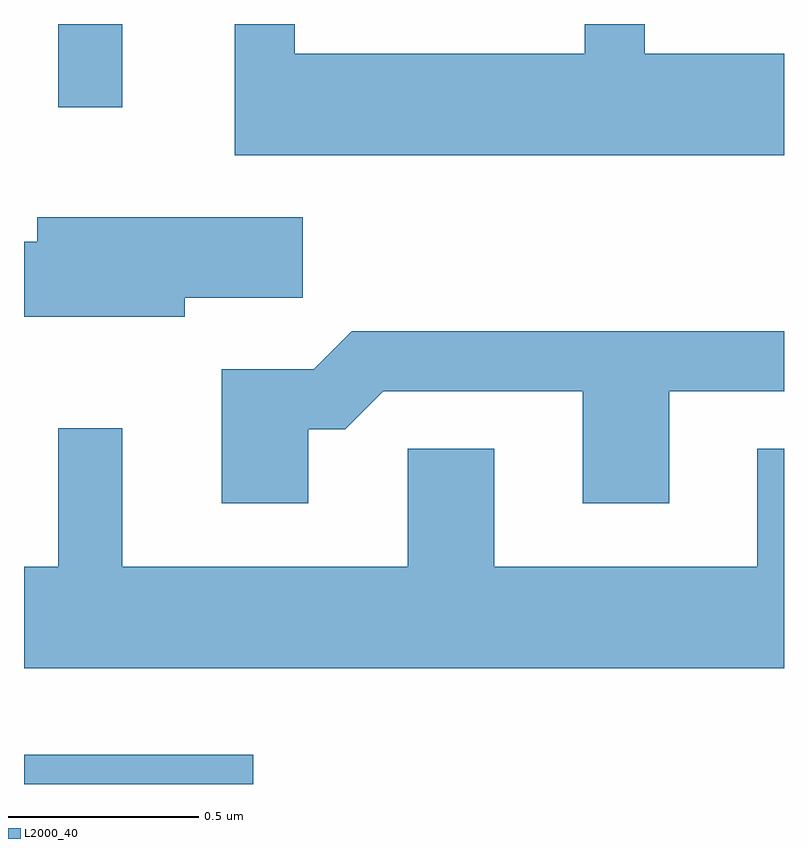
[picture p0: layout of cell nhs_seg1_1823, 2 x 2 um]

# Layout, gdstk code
import gdstk
lib = gdstk.Library(unit=1e-6, precision=1e-09)
def R(c, l, rs):  # rectangles x0, y0, x1, y1
    for r in rs: c.add(gdstk.rectangle(r[:2], r[2:], *l))
def P(c, l, *ps):  # polygons
    for p in ps: c.add(gdstk.Polygon(p, *l))
L2000_40 = (2000, 40)

nhs_seg1_1823 = lib.new_cell('nhs_seg1_1823')
R(nhs_seg1_1823, L2000_40, [(198.611,903.712,199.214,903.789), (198.701,905.493,198.869,905.712)])
P(nhs_seg1_1823, L2000_40, [(200.611,905.634),(200.244,905.634),(200.244,905.712),(200.086,905.712),(200.086,905.634),(199.324,905.634),(199.324,905.712),(199.166,905.712),(199.166,905.366),(200.611,905.366)],
  [(199.034,904.991),(199.344,904.991),(199.344,905.204),(198.646,905.204),(198.646,905.139),(198.611,905.139),(198.611,904.941),(199.034,904.941)],
  [(199.359,904.646),(199.457,904.646),(199.557,904.746),(200.081,904.746),(200.081,904.451),(200.309,904.451),(200.309,904.746),(200.611,904.746),(200.611,904.904),(199.474,904.904),(199.374,904.804),(199.131,904.804),(199.131,904.451),(199.359,904.451)],
  [(200.611,904.594),(200.541,904.594),(200.541,904.284),(199.849,904.284),(199.849,904.594),(199.621,904.594),(199.621,904.284),(198.869,904.284),(198.869,904.648),(198.701,904.648),(198.701,904.284),(198.611,904.284),(198.611,904.016),(200.611,904.016)])

lib.write_gds('nhs_seg1_1823.gds')
